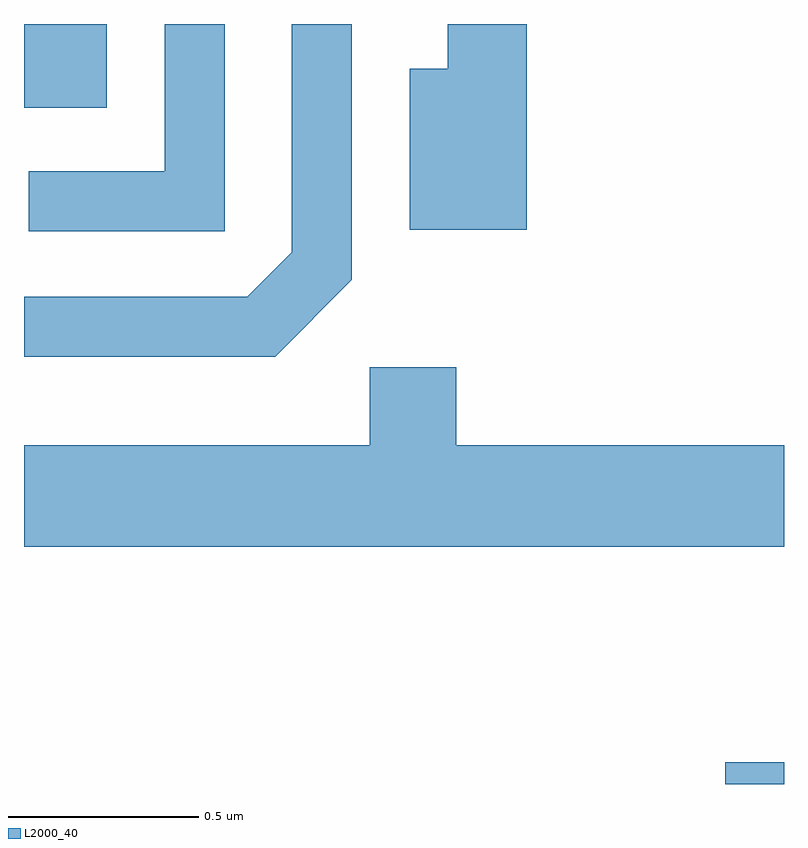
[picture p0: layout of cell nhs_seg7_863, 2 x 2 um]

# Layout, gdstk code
import gdstk
lib = gdstk.Library(unit=1e-6, precision=1e-09)
def R(c, l, rs):  # rectangles x0, y0, x1, y1
    for r in rs: c.add(gdstk.rectangle(r[:2], r[2:], *l))
def P(c, l, *ps):  # polygons
    for p in ps: c.add(gdstk.Polygon(p, *l))
L2000_40 = (2000, 40)

nhs_seg7_863 = lib.new_cell('nhs_seg7_863')
R(nhs_seg7_863, L2000_40, [(193.456,1709.252,193.611,1709.309), (191.611,1711.031,191.829,1711.252)])
P(nhs_seg7_863, L2000_40, [(192.474,1710.579),(192.474,1711.252),(192.316,1711.252),(192.316,1710.652),(192.199,1710.534),(191.611,1710.534),(191.611,1710.376),(192.272,1710.376)],
  [(192.934,1711.252),(192.726,1711.252),(192.726,1711.134),(192.626,1711.134),(192.626,1710.711),(192.934,1710.711)],
  [(192.139,1711.252),(191.981,1711.252),(191.981,1710.864),(191.623,1710.864),(191.623,1710.706),(192.139,1710.706)],
  [(193.611,1710.144),(192.749,1710.144),(192.749,1710.349),(192.521,1710.349),(192.521,1710.144),(191.611,1710.144),(191.611,1709.876),(193.611,1709.876)])

lib.write_gds('nhs_seg7_863.gds')
